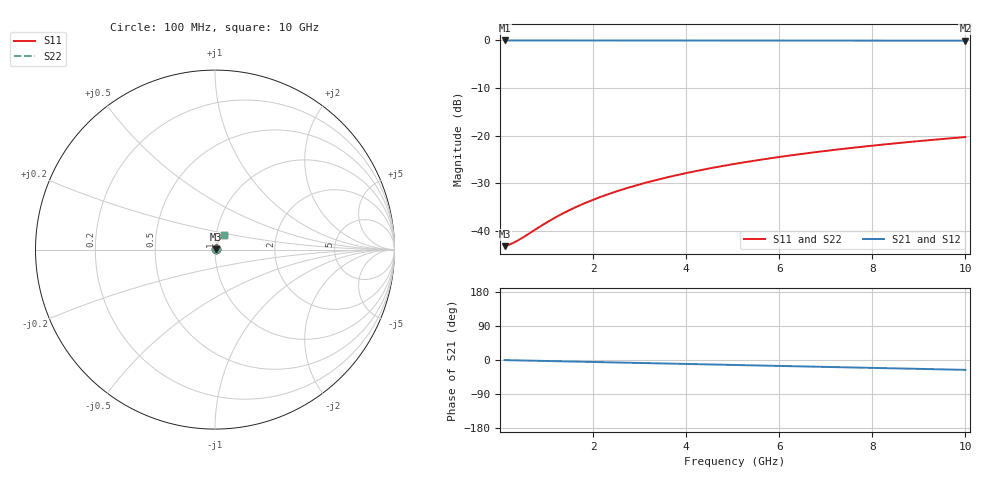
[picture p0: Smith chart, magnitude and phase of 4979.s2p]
# Hz S RI R 50.00
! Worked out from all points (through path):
!   100 points, 100 MHz to 10 GHz, reference 50 ohm
!   highest |S21| = -0.06 dB at 100 MHz (marker M1); lowest = -0.1 dB at 10 GHz (marker M2)
!   group delay of S21, straight-line fit = 7.23 ps
!   lowest |S11| = -43.2 dB at 100 MHz (marker M3), VSWR 1.01, Z = 50.7 + j0.0982 ohm
!   |S11| at or under -10 dB: start of sweep to end of sweep
!   |S22| runs from -43.2 to -20.3 dB; largest |S21 - S12| = 0
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1e8  0.00685 0.000969  0.9931 -0.00452  0.9931 -0.00452  0.00685 0.000969
2e8  0.00691 0.00194  0.9931 -0.00903  0.9931 -0.00903  0.00691 0.00194
3e8  0.00696 0.0029  0.993 -0.0136  0.993 -0.0136  0.00696 0.0029
5e8  0.00708 0.00484  0.9927 -0.0226  0.9927 -0.0226  0.00708 0.00484
9e8  0.0074 0.0087  0.9921 -0.0406  0.9921 -0.0406  0.0074 0.0087
1.2e9  0.00771 0.0116  0.9913 -0.0542  0.9913 -0.0542  0.00771 0.0116
1.5e9  0.0081 0.0145  0.9904 -0.0677  0.9904 -0.0677  0.0081 0.0145
1.8e9  0.00857 0.0173  0.9893 -0.0812  0.9893 -0.0812  0.00857 0.0173
2.1e9  0.00911 0.0202  0.988 -0.0947  0.988 -0.0947  0.00911 0.0202
2.5e9  0.00995 0.0239  0.986 -0.1126  0.986 -0.1126  0.00995 0.0239
2.9e9  0.0109 0.0277  0.9837 -0.1305  0.9837 -0.1305  0.0109 0.0277
3.4e9  0.0123 0.0323  0.9803 -0.1528  0.9803 -0.1528  0.0123 0.0323
3.8e9  0.0136 0.036  0.9771 -0.1705  0.9771 -0.1705  0.0136 0.036
4.2e9  0.015 0.0396  0.9737 -0.1882  0.9737 -0.1882  0.015 0.0396
4.6e9  0.0165 0.0431  0.9699 -0.2059  0.9699 -0.2059  0.0165 0.0431
5.1e9  0.0186 0.0474  0.9647 -0.2278  0.9647 -0.2278  0.0186 0.0474
5.9e9  0.0224 0.0542  0.9554 -0.2625  0.9554 -0.2625  0.0224 0.0542
6.7e9  0.0267 0.0606  0.9447 -0.2969  0.9447 -0.2969  0.0267 0.0606
7.5e9  0.0314 0.0667  0.9328 -0.3307  0.9328 -0.3307  0.0314 0.0667
8.4e9  0.0371 0.0731  0.9179 -0.3682  0.9179 -0.3682  0.0371 0.0731
9.2e9  0.0427 0.0784  0.9034 -0.4009  0.9034 -0.4009  0.0427 0.0784
1e10  0.0487 0.0832  0.8876 -0.433  0.8876 -0.433  0.0487 0.0832
